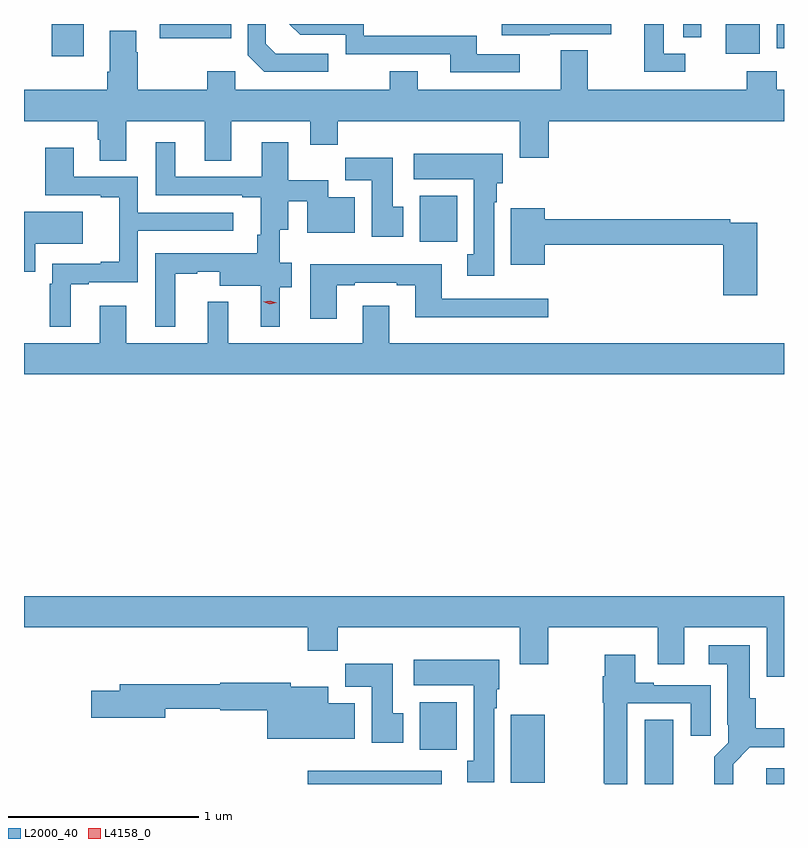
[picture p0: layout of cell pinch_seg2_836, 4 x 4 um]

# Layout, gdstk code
import gdstk
lib = gdstk.Library(unit=1e-6, precision=1e-09)
def R(c, l, rs):  # rectangles x0, y0, x1, y1
    for r in rs: c.add(gdstk.rectangle(r[:2], r[2:], *l))
def P(c, l, *ps):  # polygons
    for p in ps: c.add(gdstk.Polygon(p, *l))
L2000_40 = (2000, 40)
L4158_0 = (4158, 0)

pinch_seg2_836 = lib.new_cell('pinch_seg2_836')
R(pinch_seg2_836, L2000_40, [(838.247,584.207,838.951,584.278), (840.02,584.207,840.169,584.546), (840.659,584.207,840.753,584.29), (839.315,584.214,839.494,584.572), (838.835,584.388,839.031,584.638), (838.835,587.06,839.032,587.302), (836.9,588.036,837.067,588.207), (840.446,588.05,840.625,588.207), (840.714,588.079,840.753,588.207), (837.468,588.131,837.845,588.207), (840.222,588.136,840.318,588.207)])
P(pinch_seg2_836, L2000_40, [(840.232,588.051),(840.121,588.051),(840.121,588.207),(840.017,588.207),(840.017,587.955),(840.232,587.955)],
  [(839.521,588.153),(839.845,588.153),(839.845,588.207),(839.267,588.207),(839.267,588.149),(839.521,588.149)],
  [(839.362,588.048),(839.137,588.048),(839.137,588.144),(838.542,588.144),(838.542,588.207),(838.149,588.207),(838.206,588.15),(838.446,588.15),(838.446,588.048),(838.997,588.048),(838.997,587.952),(839.362,587.952)],
  [(838.354,588.051),(838.077,588.051),(838.026,588.102),(838.026,588.207),(837.93,588.207),(837.93,588.042),(838.017,587.955),(838.354,587.955)],
  [(836.753,587.696),(837.14,587.696),(837.14,587.598),(837.152,587.598),(837.152,587.488),(837.292,587.488),(837.292,587.696),(837.704,587.696),(837.704,587.488),(837.844,587.488),(837.844,587.696),(838.259,587.696),(838.259,587.572),(838.403,587.572),(838.403,587.696),(839.363,587.696),(839.363,587.502),(839.516,587.502),(839.516,587.696),(840.753,587.696),(840.753,587.86),(840.716,587.86),(840.716,587.959),(840.556,587.959),(840.556,587.86),(839.719,587.86),(839.719,588.068),(839.579,588.068),(839.579,587.86),(838.825,587.86),(838.825,587.959),(838.678,587.959),(838.678,587.86),(837.864,587.86),(837.864,587.959),(837.718,587.959),(837.718,587.86),(837.351,587.86),(837.351,588.059),(837.343,588.059),(837.343,588.172),(837.203,588.172),(837.203,587.956),(837.191,587.956),(837.191,587.86),(836.753,587.86)],
  [(837.55,586.893),(837.666,586.893),(837.666,586.904),(837.782,586.904),(837.782,586.829),(837.998,586.829),(837.998,586.613),(838.099,586.613),(838.099,586.822),(838.162,586.822),(838.162,586.951),(838.099,586.951),(838.099,587.123),(838.144,587.123),(838.144,587.274),(838.244,587.274),(838.244,587.108),(838.495,587.108),(838.495,587.296),(838.354,587.296),(838.354,587.384),(838.144,587.384),(838.144,587.584),(838.004,587.584),(838.004,587.403),(837.55,587.403),(837.55,587.584),(837.446,587.584),(837.446,587.307),(837.902,587.307),(837.902,587.295),(837.998,587.295),(837.998,587.098),(837.981,587.098),(837.981,587.001),(837.443,587.001),(837.443,586.613),(837.55,586.613)],
  [(836.998,586.836),(837.094,586.836),(837.094,586.848),(837.351,586.848),(837.351,587.118),(837.853,587.118),(837.853,587.214),(837.351,587.214),(837.351,587.403),(837.016,587.403),(837.016,587.557),(836.864,587.557),(836.864,587.307),(837.158,587.307),(837.158,587.295),(837.254,587.295),(837.254,586.957),(837.158,586.957),(837.158,586.944),(836.901,586.944),(836.901,586.841),(836.889,586.841),(836.889,586.613),(836.998,586.613)],
  [(839.227,587.27),(839.242,587.27),(839.242,587.37),(839.272,587.37),(839.272,587.524),(838.803,587.524),(838.803,587.39),(839.12,587.39),(839.12,586.994),(839.087,586.994),(839.087,586.881),(839.227,586.881)],
  [(838.75,587.244),(838.693,587.244),(838.693,587.503),(838.444,587.503),(838.444,587.384),(838.583,587.384),(838.583,587.088),(838.75,587.088)],
  [(840.612,587.16),(840.47,587.16),(840.47,587.18),(839.494,587.18),(839.494,587.236),(839.315,587.236),(839.315,586.94),(839.494,586.94),(839.494,587.044),(840.434,587.044),(840.434,586.779),(840.612,586.779)],
  [(836.812,587.051),(837.061,587.051),(837.061,587.218),(836.753,587.218),(836.753,586.902),(836.812,586.902)],
  [(838.399,586.833),(838.495,586.833),(838.495,586.845),(838.715,586.845),(838.715,586.833),(838.811,586.833),(838.811,586.664),(839.512,586.664),(839.512,586.761),(838.951,586.761),(838.951,586.942),(838.259,586.942),(838.259,586.656),(838.399,586.656)],
  [(840.753,586.528),(838.675,586.528),(838.675,586.723),(838.535,586.723),(838.535,586.528),(837.829,586.528),(837.829,586.744),(837.719,586.744),(837.719,586.528),(837.292,586.528),(837.292,586.723),(837.152,586.723),(837.152,586.528),(836.753,586.528),(836.753,586.364),(840.753,586.364)],
  [(840.753,585.196),(836.753,585.196),(836.753,585.032),(838.247,585.032),(838.247,584.908),(838.403,584.908),(838.403,585.032),(839.363,585.032),(839.363,584.838),(839.511,584.838),(839.511,585.032),(840.089,585.032),(840.089,584.838),(840.229,584.838),(840.229,585.032),(840.663,585.032),(840.663,584.772),(840.753,584.772)],
  [(840.487,584.312),(840.574,584.4),(840.753,584.4),(840.753,584.501),(840.605,584.501),(840.605,584.658),(840.574,584.658),(840.574,584.938),(840.357,584.938),(840.357,584.837),(840.455,584.837),(840.455,584.518),(840.459,584.518),(840.459,584.424),(840.385,584.35),(840.385,584.207),(840.487,584.207)],
  [(839.929,584.631),(840.263,584.631),(840.263,584.46),(840.367,584.46),(840.367,584.727),(840.067,584.727),(840.067,584.74),(839.971,584.74),(839.971,584.887),(839.81,584.887),(839.81,584.774),(839.798,584.774),(839.798,584.634),(839.803,584.634),(839.803,584.212),(839.81,584.212),(839.81,584.207),(839.929,584.207)],
  [(839.227,584.606),(839.242,584.606),(839.242,584.706),(839.254,584.706),(839.254,584.86),(838.803,584.86),(838.803,584.726),(839.12,584.726),(839.12,584.329),(839.087,584.329),(839.087,584.217),(839.227,584.217)],
  [(838.75,584.58),(838.693,584.58),(838.693,584.839),(838.444,584.839),(838.444,584.72),(838.583,584.72),(838.583,584.424),(838.75,584.424)],
  [(838.495,584.632),(838.353,584.632),(838.353,584.719),(838.158,584.719),(838.158,584.739),(837.786,584.739),(837.786,584.731),(837.257,584.731),(837.257,584.697),(837.108,584.697),(837.108,584.555),(837.496,584.555),(837.496,584.602),(837.786,584.602),(837.786,584.594),(838.034,584.594),(838.034,584.444),(838.495,584.444)])
P(pinch_seg2_836, L4158_0, [(838.047,586.731),(838.012,586.744),(838.012,586.744),(838.012,586.744),(838.048,586.751),(838.084,586.739),(838.084,586.739),(838.084,586.739)])

lib.write_gds('pinch_seg2_836.gds')
